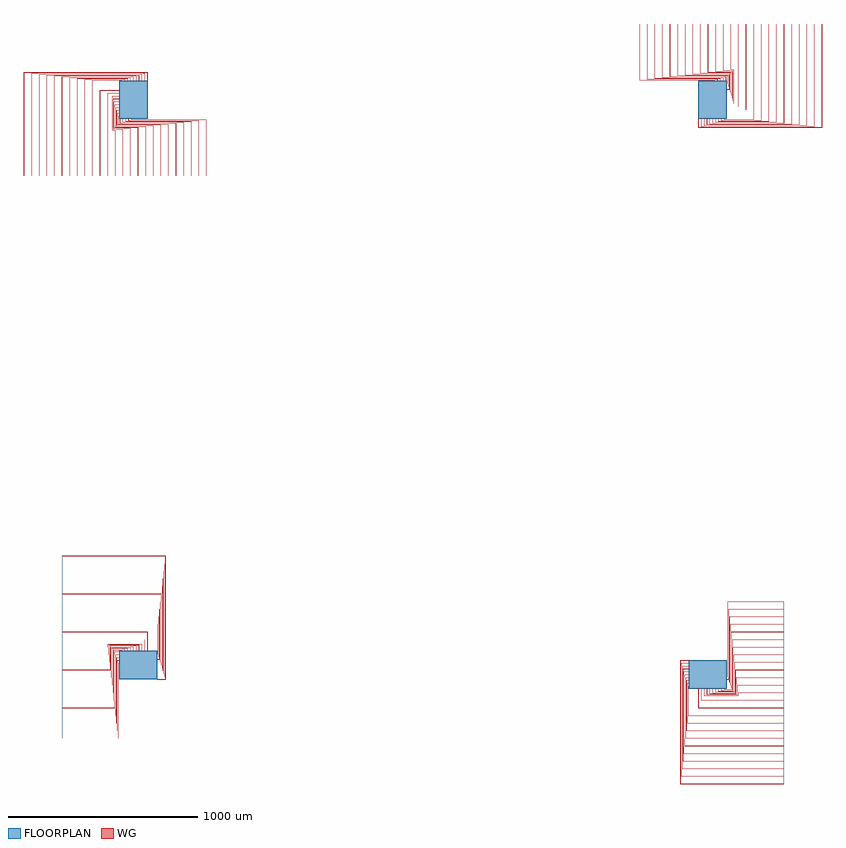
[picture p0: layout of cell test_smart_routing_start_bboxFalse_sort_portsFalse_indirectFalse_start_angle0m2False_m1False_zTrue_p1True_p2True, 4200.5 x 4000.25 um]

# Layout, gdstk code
import gdstk
lib = gdstk.Library(unit=1e-6, precision=1e-09)
def R(c, l, rs):  # rectangles x0, y0, x1, y1
    for r in rs: c.add(gdstk.rectangle(r[:2], r[2:], *l))
def P(c, l, *ps):  # polygons
    for p in ps: c.add(gdstk.Polygon(p, *l))
WG = (1, 0)
FLOORPLAN = (10, 0)

test_smart_routing_start = lib.new_cell('test_smart_routing_start_bboxFalse_sort_portsFalse_indirectFalse_start_angle0m2False_m1False_zTrue_p1True_p2True')
P(test_smart_routing_start, WG, [(2950.05,2855.3),(2950.05,2900),(2950.25,2900),(2950.25,2855.5),(3599.75,2855.5),(3599.75,3400),(3599.95,3400),(3599.95,2855.3)],
  [(2949.75,2855),(2949.75,2900),(2949.95,2900),(2949.95,2855.2),(3600.05,2855.2),(3600.05,3400),(3600.25,3400),(3600.25,2855)],
  [(2965.05,2859.8),(2965.05,2900),(2965.25,2900),(2965.25,2860),(3559.75,2860),(3559.75,3400),(3559.95,3400),(3559.95,2859.8)],
  [(2964.75,2859.5),(2964.75,2900),(2964.95,2900),(2964.95,2859.7),(3560.05,2859.7),(3560.05,3400),(3560.25,3400),(3560.25,2859.5)],
  [(2980.05,2864.3),(2980.05,2900),(2980.25,2900),(2980.25,2864.5),(3519.75,2864.5),(3519.75,3400),(3519.95,3400),(3519.95,2864.3)],
  [(2979.75,2864),(2979.75,2900),(2979.95,2900),(2979.95,2864.2),(3520.05,2864.2),(3520.05,3400),(3520.25,3400),(3520.25,2864)],
  [(2995.05,2868.8),(2995.05,2900),(2995.25,2900),(2995.25,2869),(3479.75,2869),(3479.75,3400),(3479.95,3400),(3479.95,2868.8)],
  [(2994.75,2868.5),(2994.75,2900),(2994.95,2900),(2994.95,2868.7),(3480.05,2868.7),(3480.05,3400),(3480.25,3400),(3480.25,2868.5)],
  [(3010.05,2873.3),(3010.05,2900),(3010.25,2900),(3010.25,2873.5),(3439.75,2873.5),(3439.75,3400),(3439.95,3400),(3439.95,2873.3)],
  [(3009.75,2873),(3009.75,2900),(3009.95,2900),(3009.95,2873.2),(3440.05,2873.2),(3440.05,3400),(3440.25,3400),(3440.25,2873)],
  [(3025.05,2877.8),(3025.05,2900),(3025.25,2900),(3025.25,2878),(3399.75,2878),(3399.75,3400),(3399.95,3400),(3399.95,2877.8)],
  [(3024.75,2877.5),(3024.75,2900),(3024.95,2900),(3024.95,2877.7),(3400.05,2877.7),(3400.05,3400),(3400.25,3400),(3400.25,2877.5)],
  [(3040.05,2882.3),(3040.05,2900),(3040.25,2900),(3040.25,2882.5),(3359.75,2882.5),(3359.75,3400),(3359.95,3400),(3359.95,2882.3)],
  [(3039.75,2882),(3039.75,2900),(3039.95,2900),(3039.95,2882.2),(3360.05,2882.2),(3360.05,3400),(3360.25,3400),(3360.25,2882)],
  [(3055.05,2886.8),(3055.05,2900),(3055.25,2900),(3055.25,2887),(3319.75,2887),(3319.75,3400),(3319.95,3400),(3319.95,2886.8)],
  [(3054.75,2886.5),(3054.75,2900),(3054.95,2900),(3054.95,2886.7),(3320.05,2886.7),(3320.05,3400),(3320.25,3400),(3320.25,2886.5)],
  [(3070.05,2891.3),(3070.05,2900),(3070.25,2900),(3070.25,2891.5),(3279.75,2891.5),(3279.75,3400),(3279.95,3400),(3279.95,2891.3)],
  [(3069.75,2891),(3069.75,2900),(3069.95,2900),(3069.95,2891.2),(3280.05,2891.2),(3280.05,3400),(3280.25,3400),(3280.25,2891)],
  [(3085.05,2895.8),(3085.05,2900),(3085.25,2900),(3085.25,2896),(3239.75,2896),(3239.75,3400),(3239.95,3400),(3239.95,2895.8)],
  [(3084.75,2895.5),(3084.75,2900),(3084.95,2900),(3084.95,2895.7),(3240.05,2895.7),(3240.05,3400),(3240.25,3400),(3240.25,2895.5)],
  [(3100,2950.05),(3100,2950.25),(3199.75,2950.25),(3199.75,3400),(3199.95,3400),(3199.95,2950.05)],
  [(3100,2949.75),(3100,2949.95),(3200.05,2949.95),(3200.05,3400),(3200.25,3400),(3200.25,2949.75)],
  [(3100,2965.05),(3100,2965.25),(3159.75,2965.25),(3159.75,3400),(3159.95,3400),(3159.95,2965.05)],
  [(3100,2964.75),(3100,2964.95),(3160.05,2964.95),(3160.05,3400),(3160.25,3400),(3160.25,2964.75)],
  [(3100,2980.05),(3100,2980.25),(3135.5,2980.25),(3135.5,3158),(3119.75,3158),(3119.75,3400),(3119.95,3400),(3119.95,3158.2),(3135.7,3158.2),(3135.7,2980.05)],
  [(3100,2979.75),(3100,2979.95),(3135.8,2979.95),(3135.8,3158.3),(3120.05,3158.3),(3120.05,3400),(3120.25,3400),(3120.25,3158.5),(3136,3158.5),(3136,2979.75)],
  [(3100,2995.05),(3100,2995.25),(3131,2995.25),(3131,3153.5),(3079.75,3153.5),(3079.75,3400),(3079.95,3400),(3079.95,3153.7),(3131.2,3153.7),(3131.2,2995.05)],
  [(3100,2994.75),(3100,2994.95),(3131.3,2994.95),(3131.3,3153.8),(3080.05,3153.8),(3080.05,3400),(3080.25,3400),(3080.25,3154),(3131.5,3154),(3131.5,2994.75)],
  [(3100,3010.05),(3100,3010.25),(3126.5,3010.25),(3126.5,3149),(3039.75,3149),(3039.75,3400),(3039.95,3400),(3039.95,3149.2),(3126.7,3149.2),(3126.7,3010.05)],
  [(3100,3009.75),(3100,3009.95),(3126.8,3009.95),(3126.8,3149.3),(3040.05,3149.3),(3040.05,3400),(3040.25,3400),(3040.25,3149.5),(3127,3149.5),(3127,3009.75)],
  [(3100,3025.05),(3100,3025.25),(3122,3025.25),(3122,3144.5),(2999.75,3144.5),(2999.75,3400),(2999.95,3400),(2999.95,3144.7),(3122.2,3144.7),(3122.2,3025.05)],
  [(3100,3024.75),(3100,3024.95),(3122.3,3024.95),(3122.3,3144.8),(3000.05,3144.8),(3000.05,3400),(3000.25,3400),(3000.25,3145),(3122.5,3145),(3122.5,3024.75)],
  [(3100,3040.05),(3100,3040.25),(3117.5,3040.25),(3117.5,3140),(2959.75,3140),(2959.75,3400),(2959.95,3400),(2959.95,3140.2),(3117.7,3140.2),(3117.7,3040.05)],
  [(3100,3039.75),(3100,3039.95),(3117.8,3039.95),(3117.8,3140.3),(2960.05,3140.3),(2960.05,3400),(2960.25,3400),(2960.25,3140.5),(3118,3140.5),(3118,3039.75)],
  [(3100,3055.05),(3100,3055.25),(3113,3055.25),(3113,3135.5),(2919.75,3135.5),(2919.75,3400),(2919.95,3400),(2919.95,3135.7),(3113.2,3135.7),(3113.2,3055.05)],
  [(3100,3054.75),(3100,3054.95),(3113.3,3054.95),(3113.3,3135.8),(2920.05,3135.8),(2920.05,3400),(2920.25,3400),(2920.25,3136),(3113.5,3136),(3113.5,3054.75)],
  [(3100,3070.05),(3100,3070.25),(3108.5,3070.25),(3108.5,3131),(2879.75,3131),(2879.75,3400),(2879.95,3400),(2879.95,3131.2),(3108.7,3131.2),(3108.7,3070.05)],
  [(3100,3069.75),(3100,3069.95),(3108.8,3069.95),(3108.8,3131.3),(2880.05,3131.3),(2880.05,3400),(2880.25,3400),(2880.25,3131.5),(3109,3131.5),(3109,3069.75)],
  [(3100,3085.05),(3100,3085.25),(3104,3085.25),(3104,3126.5),(2839.75,3126.5),(2839.75,3400),(2839.95,3400),(2839.95,3126.7),(3104.2,3126.7),(3104.2,3085.05)],
  [(3100,3084.75),(3100,3084.95),(3104.3,3084.95),(3104.3,3126.8),(2840.05,3126.8),(2840.05,3400),(2840.25,3400),(2840.25,3127),(3104.5,3127),(3104.5,3084.75)],
  [(3034.75,3100),(3034.75,3104),(2639.75,3104),(2639.75,3400),(2639.95,3400),(2639.95,3104.2),(3034.95,3104.2),(3034.95,3100)],
  [(3035.05,3100),(3035.05,3104.3),(2640.05,3104.3),(2640.05,3400),(2640.25,3400),(2640.25,3104.5),(3035.25,3104.5),(3035.25,3100)],
  [(3049.75,3100),(3049.75,3108.5),(2679.75,3108.5),(2679.75,3400),(2679.95,3400),(2679.95,3108.7),(3049.95,3108.7),(3049.95,3100)],
  [(3050.05,3100),(3050.05,3108.8),(2680.05,3108.8),(2680.05,3400),(2680.25,3400),(2680.25,3109),(3050.25,3109),(3050.25,3100)],
  [(3064.75,3100),(3064.75,3113),(2719.75,3113),(2719.75,3400),(2719.95,3400),(2719.95,3113.2),(3064.95,3113.2),(3064.95,3100)],
  [(3065.05,3100),(3065.05,3113.3),(2720.05,3113.3),(2720.05,3400),(2720.25,3400),(2720.25,3113.5),(3065.25,3113.5),(3065.25,3100)],
  [(3079.75,3100),(3079.75,3117.5),(2759.75,3117.5),(2759.75,3400),(2759.95,3400),(2759.95,3117.7),(3079.95,3117.7),(3079.95,3100)],
  [(3080.05,3100),(3080.05,3117.8),(2760.05,3117.8),(2760.05,3400),(2760.25,3400),(2760.25,3118),(3080.25,3118),(3080.25,3100)],
  [(3094.75,3100),(3094.75,3122),(2799.75,3122),(2799.75,3400),(2799.95,3400),(2799.95,3122.2),(3094.95,3122.2),(3094.95,3100)],
  [(3095.05,3100),(3095.05,3122.3),(2800.05,3122.3),(2800.05,3400),(2800.25,3400),(2800.25,3122.5),(3095.25,3122.5),(3095.25,3100)],
  [(-599.95,2600),(-599.95,3144.7),(49.95,3144.7),(49.95,3100),(49.75,3100),(49.75,3144.5),(-599.75,3144.5),(-599.75,2600)],
  [(-600.25,2600),(-600.25,3145),(50.25,3145),(50.25,3100),(50.05,3100),(50.05,3144.8),(-600.05,3144.8),(-600.05,2600)],
  [(-559.95,2600),(-559.95,3140.2),(34.95,3140.2),(34.95,3100),(34.75,3100),(34.75,3140),(-559.75,3140),(-559.75,2600)],
  [(-560.25,2600),(-560.25,3140.5),(35.25,3140.5),(35.25,3100),(35.05,3100),(35.05,3140.3),(-560.05,3140.3),(-560.05,2600)],
  [(-519.95,2600),(-519.95,3135.7),(19.95,3135.7),(19.95,3100),(19.75,3100),(19.75,3135.5),(-519.75,3135.5),(-519.75,2600)],
  [(-520.25,2600),(-520.25,3136),(20.25,3136),(20.25,3100),(20.05,3100),(20.05,3135.8),(-520.05,3135.8),(-520.05,2600)],
  [(-479.95,2600),(-479.95,3131.2),(4.95,3131.2),(4.95,3100),(4.75,3100),(4.75,3131),(-479.75,3131),(-479.75,2600)],
  [(-480.25,2600),(-480.25,3131.5),(5.25,3131.5),(5.25,3100),(5.05,3100),(5.05,3131.3),(-480.05,3131.3),(-480.05,2600)],
  [(-439.95,2600),(-439.95,3126.7),(-10.05,3126.7),(-10.05,3100),(-10.25,3100),(-10.25,3126.5),(-439.75,3126.5),(-439.75,2600)],
  [(-440.25,2600),(-440.25,3127),(-9.75,3127),(-9.75,3100),(-9.95,3100),(-9.95,3126.8),(-440.05,3126.8),(-440.05,2600)],
  [(-399.95,2600),(-399.95,3122.2),(-25.05,3122.2),(-25.05,3100),(-25.25,3100),(-25.25,3122),(-399.75,3122),(-399.75,2600)],
  [(-400.25,2600),(-400.25,3122.5),(-24.75,3122.5),(-24.75,3100),(-24.95,3100),(-24.95,3122.3),(-400.05,3122.3),(-400.05,2600)],
  [(-359.95,2600),(-359.95,3117.7),(-40.05,3117.7),(-40.05,3100),(-40.25,3100),(-40.25,3117.5),(-359.75,3117.5),(-359.75,2600)],
  [(-360.25,2600),(-360.25,3118),(-39.75,3118),(-39.75,3100),(-39.95,3100),(-39.95,3117.8),(-360.05,3117.8),(-360.05,2600)],
  [(-319.95,2600),(-319.95,3113.2),(-55.05,3113.2),(-55.05,3100),(-55.25,3100),(-55.25,3113),(-319.75,3113),(-319.75,2600)],
  [(-320.25,2600),(-320.25,3113.5),(-54.75,3113.5),(-54.75,3100),(-54.95,3100),(-54.95,3113.3),(-320.05,3113.3),(-320.05,2600)],
  [(-279.95,2600),(-279.95,3108.7),(-70.05,3108.7),(-70.05,3100),(-70.25,3100),(-70.25,3108.5),(-279.75,3108.5),(-279.75,2600)],
  [(-280.25,2600),(-280.25,3109),(-69.75,3109),(-69.75,3100),(-69.95,3100),(-69.95,3108.8),(-280.05,3108.8),(-280.05,2600)],
  [(-239.95,2600),(-239.95,3104.2),(-85.05,3104.2),(-85.05,3100),(-85.25,3100),(-85.25,3104),(-239.75,3104),(-239.75,2600)],
  [(-240.25,2600),(-240.25,3104.5),(-84.75,3104.5),(-84.75,3100),(-84.95,3100),(-84.95,3104.3),(-240.05,3104.3),(-240.05,2600)],
  [(-199.95,2600),(-199.95,3049.95),(-100,3049.95),(-100,3049.75),(-199.75,3049.75),(-199.75,2600)],
  [(-200.25,2600),(-200.25,3050.25),(-100,3050.25),(-100,3050.05),(-200.05,3050.05),(-200.05,2600)],
  [(-159.95,2600),(-159.95,3034.95),(-100,3034.95),(-100,3034.75),(-159.75,3034.75),(-159.75,2600)],
  [(-160.25,2600),(-160.25,3035.25),(-100,3035.25),(-100,3035.05),(-160.05,3035.05),(-160.05,2600)],
  [(-119.95,2600),(-119.95,2841.8),(-135.7,2841.8),(-135.7,3019.95),(-100,3019.95),(-100,3019.75),(-135.5,3019.75),(-135.5,2842),(-119.75,2842),(-119.75,2600)],
  [(-120.25,2600),(-120.25,2841.5),(-136,2841.5),(-136,3020.25),(-100,3020.25),(-100,3020.05),(-135.8,3020.05),(-135.8,2841.7),(-120.05,2841.7),(-120.05,2600)],
  [(-79.95,2600),(-79.95,2846.3),(-131.2,2846.3),(-131.2,3004.95),(-100,3004.95),(-100,3004.75),(-131,3004.75),(-131,2846.5),(-79.75,2846.5),(-79.75,2600)],
  [(-80.25,2600),(-80.25,2846),(-131.5,2846),(-131.5,3005.25),(-100,3005.25),(-100,3005.05),(-131.3,3005.05),(-131.3,2846.2),(-80.05,2846.2),(-80.05,2600)],
  [(-39.95,2600),(-39.95,2850.8),(-126.7,2850.8),(-126.7,2989.95),(-100,2989.95),(-100,2989.75),(-126.5,2989.75),(-126.5,2851),(-39.75,2851),(-39.75,2600)],
  [(-40.25,2600),(-40.25,2850.5),(-127,2850.5),(-127,2990.25),(-100,2990.25),(-100,2990.05),(-126.8,2990.05),(-126.8,2850.7),(-40.05,2850.7),(-40.05,2600)],
  [(0.05,2600),(0.05,2855.3),(-122.2,2855.3),(-122.2,2974.95),(-100,2974.95),(-100,2974.75),(-122,2974.75),(-122,2855.5),(0.25,2855.5),(0.25,2600)],
  [(-0.25,2600),(-0.25,2855),(-122.5,2855),(-122.5,2975.25),(-100,2975.25),(-100,2975.05),(-122.3,2975.05),(-122.3,2855.2),(-0.05,2855.2),(-0.05,2600)],
  [(40.05,2600),(40.05,2859.8),(-117.7,2859.8),(-117.7,2959.95),(-100,2959.95),(-100,2959.75),(-117.5,2959.75),(-117.5,2860),(40.25,2860),(40.25,2600)],
  [(39.75,2600),(39.75,2859.5),(-118,2859.5),(-118,2960.25),(-100,2960.25),(-100,2960.05),(-117.8,2960.05),(-117.8,2859.7),(39.95,2859.7),(39.95,2600)],
  [(80.05,2600),(80.05,2864.3),(-113.2,2864.3),(-113.2,2944.95),(-100,2944.95),(-100,2944.75),(-113,2944.75),(-113,2864.5),(80.25,2864.5),(80.25,2600)],
  [(79.75,2600),(79.75,2864),(-113.5,2864),(-113.5,2945.25),(-100,2945.25),(-100,2945.05),(-113.3,2945.05),(-113.3,2864.2),(79.95,2864.2),(79.95,2600)],
  [(120.05,2600),(120.05,2868.8),(-108.7,2868.8),(-108.7,2929.95),(-100,2929.95),(-100,2929.75),(-108.5,2929.75),(-108.5,2869),(120.25,2869),(120.25,2600)],
  [(119.75,2600),(119.75,2868.5),(-109,2868.5),(-109,2930.25),(-100,2930.25),(-100,2930.05),(-108.8,2930.05),(-108.8,2868.7),(119.95,2868.7),(119.95,2600)],
  [(160.05,2600),(160.05,2873.3),(-104.2,2873.3),(-104.2,2914.95),(-100,2914.95),(-100,2914.75),(-104,2914.75),(-104,2873.5),(160.25,2873.5),(160.25,2600)],
  [(159.75,2600),(159.75,2873),(-104.5,2873),(-104.5,2915.25),(-100,2915.25),(-100,2915.05),(-104.3,2915.05),(-104.3,2873.2),(159.95,2873.2),(159.95,2600)],
  [(359.75,2600),(359.75,2895.5),(-35.25,2895.5),(-35.25,2900),(-35.05,2900),(-35.05,2895.7),(359.95,2895.7),(359.95,2600)],
  [(360.05,2600),(360.05,2895.8),(-34.95,2895.8),(-34.95,2900),(-34.75,2900),(-34.75,2896),(360.25,2896),(360.25,2600)],
  [(319.75,2600),(319.75,2891),(-50.25,2891),(-50.25,2900),(-50.05,2900),(-50.05,2891.2),(319.95,2891.2),(319.95,2600)],
  [(320.05,2600),(320.05,2891.3),(-49.95,2891.3),(-49.95,2900),(-49.75,2900),(-49.75,2891.5),(320.25,2891.5),(320.25,2600)],
  [(279.75,2600),(279.75,2886.5),(-65.25,2886.5),(-65.25,2900),(-65.05,2900),(-65.05,2886.7),(279.95,2886.7),(279.95,2600)],
  [(280.05,2600),(280.05,2886.8),(-64.95,2886.8),(-64.95,2900),(-64.75,2900),(-64.75,2887),(280.25,2887),(280.25,2600)],
  [(239.75,2600),(239.75,2882),(-80.25,2882),(-80.25,2900),(-80.05,2900),(-80.05,2882.2),(239.95,2882.2),(239.95,2600)],
  [(240.05,2600),(240.05,2882.3),(-79.95,2882.3),(-79.95,2900),(-79.75,2900),(-79.75,2882.5),(240.25,2882.5),(240.25,2600)],
  [(199.75,2600),(199.75,2877.5),(-95.25,2877.5),(-95.25,2900),(-95.05,2900),(-95.05,2877.7),(199.95,2877.7),(199.95,2600)],
  [(200.05,2600),(200.05,2877.8),(-94.95,2877.8),(-94.95,2900),(-94.75,2900),(-94.75,2878),(200.25,2878),(200.25,2600)],
  [(100,-49.95),(100,-49.75),(144.5,-49.75),(144.5,599.75),(-400,599.75),(-400,599.95),(144.7,599.95),(144.7,-49.95)],
  [(100,-50.25),(100,-50.05),(144.8,-50.05),(144.8,600.05),(-400,600.05),(-400,600.25),(145,600.25),(145,-50.25)],
  [(100,-34.95),(100,-34.75),(140,-34.75),(140,559.75),(-400,559.75),(-400,559.95),(140.2,559.95),(140.2,-34.95)],
  [(100,-35.25),(100,-35.05),(140.3,-35.05),(140.3,560.05),(-400,560.05),(-400,560.25),(140.5,560.25),(140.5,-35.25)],
  [(100,-19.95),(100,-19.75),(135.5,-19.75),(135.5,519.75),(-400,519.75),(-400,519.95),(135.7,519.95),(135.7,-19.95)],
  [(100,-20.25),(100,-20.05),(135.8,-20.05),(135.8,520.05),(-400,520.05),(-400,520.25),(136,520.25),(136,-20.25)],
  [(100,-4.95),(100,-4.75),(131,-4.75),(131,479.75),(-400,479.75),(-400,479.95),(131.2,479.95),(131.2,-4.95)],
  [(100,-5.25),(100,-5.05),(131.3,-5.05),(131.3,480.05),(-400,480.05),(-400,480.25),(131.5,480.25),(131.5,-5.25)],
  [(100,10.05),(100,10.25),(126.5,10.25),(126.5,439.75),(-400,439.75),(-400,439.95),(126.7,439.95),(126.7,10.05)],
  [(100,9.75),(100,9.95),(126.8,9.95),(126.8,440.05),(-400,440.05),(-400,440.25),(127,440.25),(127,9.75)],
  [(100,25.05),(100,25.25),(122,25.25),(122,399.75),(-400,399.75),(-400,399.95),(122.2,399.95),(122.2,25.05)],
  [(100,24.75),(100,24.95),(122.3,24.95),(122.3,400.05),(-400,400.05),(-400,400.25),(122.5,400.25),(122.5,24.75)],
  [(100,40.05),(100,40.25),(117.5,40.25),(117.5,359.75),(-400,359.75),(-400,359.95),(117.7,359.95),(117.7,40.05)],
  [(100,39.75),(100,39.95),(117.8,39.95),(117.8,360.05),(-400,360.05),(-400,360.25),(118,360.25),(118,39.75)],
  [(100,55.05),(100,55.25),(113,55.25),(113,319.75),(-400,319.75),(-400,319.95),(113.2,319.95),(113.2,55.05)],
  [(100,54.75),(100,54.95),(113.3,54.95),(113.3,320.05),(-400,320.05),(-400,320.25),(113.5,320.25),(113.5,54.75)],
  [(100,70.05),(100,70.25),(108.5,70.25),(108.5,279.75),(-400,279.75),(-400,279.95),(108.7,279.95),(108.7,70.05)],
  [(100,69.75),(100,69.95),(108.8,69.95),(108.8,280.05),(-400,280.05),(-400,280.25),(109,280.25),(109,69.75)],
  [(100,85.05),(100,85.25),(104,85.25),(104,239.75),(-400,239.75),(-400,239.95),(104.2,239.95),(104.2,85.05)],
  [(100,84.75),(100,84.95),(104.3,84.95),(104.3,240.05),(-400,240.05),(-400,240.25),(104.5,240.25),(104.5,84.75)],
  [(49.75,100),(49.75,199.75),(-400,199.75),(-400,199.95),(49.95,199.95),(49.95,100)],
  [(50.05,100),(50.05,200.05),(-400,200.05),(-400,200.25),(50.25,200.25),(50.25,100)],
  [(34.75,100),(34.75,159.75),(-400,159.75),(-400,159.95),(34.95,159.95),(34.95,100)],
  [(35.05,100),(35.05,160.05),(-400,160.05),(-400,160.25),(35.25,160.25),(35.25,100)],
  [(19.75,100),(19.75,135.5),(-158,135.5),(-158,119.75),(-400,119.75),(-400,119.95),(-158.2,119.95),(-158.2,135.7),(19.95,135.7),(19.95,100)],
  [(20.05,100),(20.05,135.8),(-158.3,135.8),(-158.3,120.05),(-400,120.05),(-400,120.25),(-158.5,120.25),(-158.5,136),(20.25,136),(20.25,100)],
  [(-400,79.75),(-400,79.95),(-153.7,79.95),(-153.7,131.2),(4.95,131.2),(4.95,100),(4.75,100),(4.75,131),(-153.5,131),(-153.5,79.75)],
  [(-400,80.05),(-400,80.25),(-154,80.25),(-154,131.5),(5.25,131.5),(5.25,100),(5.05,100),(5.05,131.3),(-153.8,131.3),(-153.8,80.05)],
  [(-400,39.75),(-400,39.95),(-149.2,39.95),(-149.2,126.7),(-10.05,126.7),(-10.05,100),(-10.25,100),(-10.25,126.5),(-149,126.5),(-149,39.75)],
  [(-400,40.05),(-400,40.25),(-149.5,40.25),(-149.5,127),(-9.75,127),(-9.75,100),(-9.95,100),(-9.95,126.8),(-149.3,126.8),(-149.3,40.05)],
  [(-400,-0.25),(-400,-0.05),(-144.7,-0.05),(-144.7,122.2),(-25.05,122.2),(-25.05,100),(-25.25,100),(-25.25,122),(-144.5,122),(-144.5,-0.25)],
  [(-400,0.05),(-400,0.25),(-145,0.25),(-145,122.5),(-24.75,122.5),(-24.75,100),(-24.95,100),(-24.95,122.3),(-144.8,122.3),(-144.8,0.05)],
  [(-400,-40.25),(-400,-40.05),(-140.2,-40.05),(-140.2,117.7),(-40.05,117.7),(-40.05,100),(-40.25,100),(-40.25,117.5),(-140,117.5),(-140,-40.25)],
  [(-400,-39.95),(-400,-39.75),(-140.5,-39.75),(-140.5,118),(-39.75,118),(-39.75,100),(-39.95,100),(-39.95,117.8),(-140.3,117.8),(-140.3,-39.95)],
  [(-400,-80.25),(-400,-80.05),(-135.7,-80.05),(-135.7,113.2),(-55.05,113.2),(-55.05,100),(-55.25,100),(-55.25,113),(-135.5,113),(-135.5,-80.25)],
  [(-400,-79.95),(-400,-79.75),(-136,-79.75),(-136,113.5),(-54.75,113.5),(-54.75,100),(-54.95,100),(-54.95,113.3),(-135.8,113.3),(-135.8,-79.95)],
  [(-400,-120.25),(-400,-120.05),(-131.2,-120.05),(-131.2,108.7),(-70.05,108.7),(-70.05,100),(-70.25,100),(-70.25,108.5),(-131,108.5),(-131,-120.25)],
  [(-400,-119.95),(-400,-119.75),(-131.5,-119.75),(-131.5,109),(-69.75,109),(-69.75,100),(-69.95,100),(-69.95,108.8),(-131.3,108.8),(-131.3,-119.95)],
  [(-400,-160.25),(-400,-160.05),(-126.7,-160.05),(-126.7,104.2),(-85.05,104.2),(-85.05,100),(-85.25,100),(-85.25,104),(-126.5,104),(-126.5,-160.25)],
  [(-400,-159.95),(-400,-159.75),(-127,-159.75),(-127,104.5),(-84.75,104.5),(-84.75,100),(-84.95,100),(-84.95,104.3),(-126.8,104.3),(-126.8,-159.95)],
  [(-400,-360.25),(-400,-360.05),(-104.2,-360.05),(-104.2,34.95),(-100,34.95),(-100,34.75),(-104,34.75),(-104,-360.25)],
  [(-400,-359.95),(-400,-359.75),(-104.5,-359.75),(-104.5,35.25),(-100,35.25),(-100,35.05),(-104.3,35.05),(-104.3,-359.95)],
  [(-400,-320.25),(-400,-320.05),(-108.7,-320.05),(-108.7,49.95),(-100,49.95),(-100,49.75),(-108.5,49.75),(-108.5,-320.25)],
  [(-400,-319.95),(-400,-319.75),(-109,-319.75),(-109,50.25),(-100,50.25),(-100,50.05),(-108.8,50.05),(-108.8,-319.95)],
  [(-400,-280.25),(-400,-280.05),(-113.2,-280.05),(-113.2,64.95),(-100,64.95),(-100,64.75),(-113,64.75),(-113,-280.25)],
  [(-400,-279.95),(-400,-279.75),(-113.5,-279.75),(-113.5,65.25),(-100,65.25),(-100,65.05),(-113.3,65.05),(-113.3,-279.95)],
  [(-400,-240.25),(-400,-240.05),(-117.7,-240.05),(-117.7,79.95),(-100,79.95),(-100,79.75),(-117.5,79.75),(-117.5,-240.25)],
  [(-400,-239.95),(-400,-239.75),(-118,-239.75),(-118,80.25),(-100,80.25),(-100,80.05),(-117.8,80.05),(-117.8,-239.95)],
  [(-400,-200.25),(-400,-200.05),(-122.2,-200.05),(-122.2,94.95),(-100,94.95),(-100,94.75),(-122,94.75),(-122,-200.25)],
  [(-400,-199.95),(-400,-199.75),(-122.5,-199.75),(-122.5,95.25),(-100,95.25),(-100,95.05),(-122.3,95.05),(-122.3,-199.95)],
  [(2855.3,-599.95),(2855.3,49.95),(2900,49.95),(2900,49.75),(2855.5,49.75),(2855.5,-599.75),(3400,-599.75),(3400,-599.95)],
  [(2855,-600.25),(2855,50.25),(2900,50.25),(2900,50.05),(2855.2,50.05),(2855.2,-600.05),(3400,-600.05),(3400,-600.25)],
  [(2859.8,-559.95),(2859.8,34.95),(2900,34.95),(2900,34.75),(2860,34.75),(2860,-559.75),(3400,-559.75),(3400,-559.95)],
  [(2859.5,-560.25),(2859.5,35.25),(2900,35.25),(2900,35.05),(2859.7,35.05),(2859.7,-560.05),(3400,-560.05),(3400,-560.25)],
  [(2864.3,-519.95),(2864.3,19.95),(2900,19.95),(2900,19.75),(2864.5,19.75),(2864.5,-519.75),(3400,-519.75),(3400,-519.95)],
  [(2864,-520.25),(2864,20.25),(2900,20.25),(2900,20.05),(2864.2,20.05),(2864.2,-520.05),(3400,-520.05),(3400,-520.25)],
  [(2868.8,-479.95),(2868.8,4.95),(2900,4.95),(2900,4.75),(2869,4.75),(2869,-479.75),(3400,-479.75),(3400,-479.95)],
  [(2868.5,-480.25),(2868.5,5.25),(2900,5.25),(2900,5.05),(2868.7,5.05),(2868.7,-480.05),(3400,-480.05),(3400,-480.25)],
  [(2873.3,-439.95),(2873.3,-10.05),(2900,-10.05),(2900,-10.25),(2873.5,-10.25),(2873.5,-439.75),(3400,-439.75),(3400,-439.95)],
  [(2873,-440.25),(2873,-9.75),(2900,-9.75),(2900,-9.95),(2873.2,-9.95),(2873.2,-440.05),(3400,-440.05),(3400,-440.25)],
  [(2877.8,-399.95),(2877.8,-25.05),(2900,-25.05),(2900,-25.25),(2878,-25.25),(2878,-399.75),(3400,-399.75),(3400,-399.95)],
  [(2877.5,-400.25),(2877.5,-24.75),(2900,-24.75),(2900,-24.95),(2877.7,-24.95),(2877.7,-400.05),(3400,-400.05),(3400,-400.25)],
  [(2882.3,-359.95),(2882.3,-40.05),(2900,-40.05),(2900,-40.25),(2882.5,-40.25),(2882.5,-359.75),(3400,-359.75),(3400,-359.95)],
  [(2882,-360.25),(2882,-39.75),(2900,-39.75),(2900,-39.95),(2882.2,-39.95),(2882.2,-360.05),(3400,-360.05),(3400,-360.25)],
  [(2886.8,-319.95),(2886.8,-55.05),(2900,-55.05),(2900,-55.25),(2887,-55.25),(2887,-319.75),(3400,-319.75),(3400,-319.95)],
  [(2886.5,-320.25),(2886.5,-54.75),(2900,-54.75),(2900,-54.95),(2886.7,-54.95),(2886.7,-320.05),(3400,-320.05),(3400,-320.25)],
  [(2891.3,-279.95),(2891.3,-70.05),(2900,-70.05),(2900,-70.25),(2891.5,-70.25),(2891.5,-279.75),(3400,-279.75),(3400,-279.95)],
  [(2891,-280.25),(2891,-69.75),(2900,-69.75),(2900,-69.95),(2891.2,-69.95),(2891.2,-280.05),(3400,-280.05),(3400,-280.25)],
  [(2895.8,-239.95),(2895.8,-85.05),(2900,-85.05),(2900,-85.25),(2896,-85.25),(2896,-239.75),(3400,-239.75),(3400,-239.95)],
  [(2895.5,-240.25),(2895.5,-84.75),(2900,-84.75),(2900,-84.95),(2895.7,-84.95),(2895.7,-240.05),(3400,-240.05),(3400,-240.25)],
  [(2949.75,-200.25),(2949.75,-100),(2949.95,-100),(2949.95,-200.05),(3400,-200.05),(3400,-200.25)],
  [(2950.05,-199.95),(2950.05,-100),(2950.25,-100),(2950.25,-199.75),(3400,-199.75),(3400,-199.95)],
  [(2964.75,-160.25),(2964.75,-100),(2964.95,-100),(2964.95,-160.05),(3400,-160.05),(3400,-160.25)],
  [(2965.05,-159.95),(2965.05,-100),(2965.25,-100),(2965.25,-159.75),(3400,-159.75),(3400,-159.95)],
  [(2979.75,-136),(2979.75,-100),(2979.95,-100),(2979.95,-135.8),(3158.3,-135.8),(3158.3,-120.05),(3400,-120.05),(3400,-120.25),(3158.5,-120.25),(3158.5,-136)],
  [(2980.05,-135.7),(2980.05,-100),(2980.25,-100),(2980.25,-135.5),(3158,-135.5),(3158,-119.75),(3400,-119.75),(3400,-119.95),(3158.2,-119.95),(3158.2,-135.7)],
  [(2994.75,-131.5),(2994.75,-100),(2994.95,-100),(2994.95,-131.3),(3153.8,-131.3),(3153.8,-80.05),(3400,-80.05),(3400,-80.25),(3154,-80.25),(3154,-131.5)],
  [(2995.05,-131.2),(2995.05,-100),(2995.25,-100),(2995.25,-131),(3153.5,-131),(3153.5,-79.75),(3400,-79.75),(3400,-79.95),(3153.7,-79.95),(3153.7,-131.2)],
  [(3009.75,-127),(3009.75,-100),(3009.95,-100),(3009.95,-126.8),(3149.3,-126.8),(3149.3,-40.05),(3400,-40.05),(3400,-40.25),(3149.5,-40.25),(3149.5,-127)],
  [(3010.05,-126.7),(3010.05,-100),(3010.25,-100),(3010.25,-126.5),(3149,-126.5),(3149,-39.75),(3400,-39.75),(3400,-39.95),(3149.2,-39.95),(3149.2,-126.7)],
  [(3024.75,-122.5),(3024.75,-100),(3024.95,-100),(3024.95,-122.3),(3144.8,-122.3),(3144.8,-0.05),(3400,-0.05),(3400,-0.25),(3145,-0.25),(3145,-122.5)],
  [(3025.05,-122.2),(3025.05,-100),(3025.25,-100),(3025.25,-122),(3144.5,-122),(3144.5,0.25),(3400,0.25),(3400,0.05),(3144.7,0.05),(3144.7,-122.2)],
  [(3039.75,-118),(3039.75,-100),(3039.95,-100),(3039.95,-117.8),(3140.3,-117.8),(3140.3,39.95),(3400,39.95),(3400,39.75),(3140.5,39.75),(3140.5,-118)],
  [(3040.05,-117.7),(3040.05,-100),(3040.25,-100),(3040.25,-117.5),(3140,-117.5),(3140,40.25),(3400,40.25),(3400,40.05),(3140.2,40.05),(3140.2,-117.7)],
  [(3054.75,-113.5),(3054.75,-100),(3054.95,-100),(3054.95,-113.3),(3135.8,-113.3),(3135.8,79.95),(3400,79.95),(3400,79.75),(3136,79.75),(3136,-113.5)],
  [(3055.05,-113.2),(3055.05,-100),(3055.25,-100),(3055.25,-113),(3135.5,-113),(3135.5,80.25),(3400,80.25),(3400,80.05),(3135.7,80.05),(3135.7,-113.2)],
  [(3069.75,-109),(3069.75,-100),(3069.95,-100),(3069.95,-108.8),(3131.3,-108.8),(3131.3,119.95),(3400,119.95),(3400,119.75),(3131.5,119.75),(3131.5,-109)],
  [(3070.05,-108.7),(3070.05,-100),(3070.25,-100),(3070.25,-108.5),(3131,-108.5),(3131,120.25),(3400,120.25),(3400,120.05),(3131.2,120.05),(3131.2,-108.7)],
  [(3084.75,-104.5),(3084.75,-100),(3084.95,-100),(3084.95,-104.3),(3126.8,-104.3),(3126.8,159.95),(3400,159.95),(3400,159.75),(3127,159.75),(3127,-104.5)],
  [(3085.05,-104.2),(3085.05,-100),(3085.25,-100),(3085.25,-104),(3126.5,-104),(3126.5,160.25),(3400,160.25),(3400,160.05),(3126.7,160.05),(3126.7,-104.2)],
  [(3100,-35.25),(3100,-35.05),(3104.3,-35.05),(3104.3,359.95),(3400,359.95),(3400,359.75),(3104.5,359.75),(3104.5,-35.25)],
  [(3100,-34.95),(3100,-34.75),(3104,-34.75),(3104,360.25),(3400,360.25),(3400,360.05),(3104.2,360.05),(3104.2,-34.95)],
  [(3100,-50.25),(3100,-50.05),(3108.8,-50.05),(3108.8,319.95),(3400,319.95),(3400,319.75),(3109,319.75),(3109,-50.25)],
  [(3100,-49.95),(3100,-49.75),(3108.5,-49.75),(3108.5,320.25),(3400,320.25),(3400,320.05),(3108.7,320.05),(3108.7,-49.95)],
  [(3100,-65.25),(3100,-65.05),(3113.3,-65.05),(3113.3,279.95),(3400,279.95),(3400,279.75),(3113.5,279.75),(3113.5,-65.25)],
  [(3100,-64.95),(3100,-64.75),(3113,-64.75),(3113,280.25),(3400,280.25),(3400,280.05),(3113.2,280.05),(3113.2,-64.95)],
  [(3100,-80.25),(3100,-80.05),(3117.8,-80.05),(3117.8,239.95),(3400,239.95),(3400,239.75),(3118,239.75),(3118,-80.25)],
  [(3100,-79.95),(3100,-79.75),(3117.5,-79.75),(3117.5,240.25),(3400,240.25),(3400,240.05),(3117.7,240.05),(3117.7,-79.95)],
  [(3100,-95.25),(3100,-95.05),(3122.3,-95.05),(3122.3,199.95),(3400,199.95),(3400,199.75),(3122.5,199.75),(3122.5,-95.25)],
  [(3100,-94.95),(3100,-94.75),(3122,-94.75),(3122,200.25),(3400,200.25),(3400,200.05),(3122.2,200.05),(3122.2,-94.95)])
R(test_smart_routing_start, FLOORPLAN, [(2900,-100,3100,50), (-100,-50,100,100), (-100,2900,50,3100), (2950,2900,3100,3100)])
P(test_smart_routing_start, FLOORPLAN, [(-400,-360),(-400,600),(-400,600),(-400,-360)],
  [(-600,2600),(-600,2600),(360,2600),(360,2600)],
  [(3400,-600),(3400,360),(3400,360),(3400,-600)],
  [(2640,3400),(2640,3400),(3600,3400),(3600,3400)])

lib.write_gds('test_smart_routing_start_bboxFalse_sort_portsFalse_indirectFalse_start_angle0m2False_m1False_zTrue_p1True_p2True.gds')
